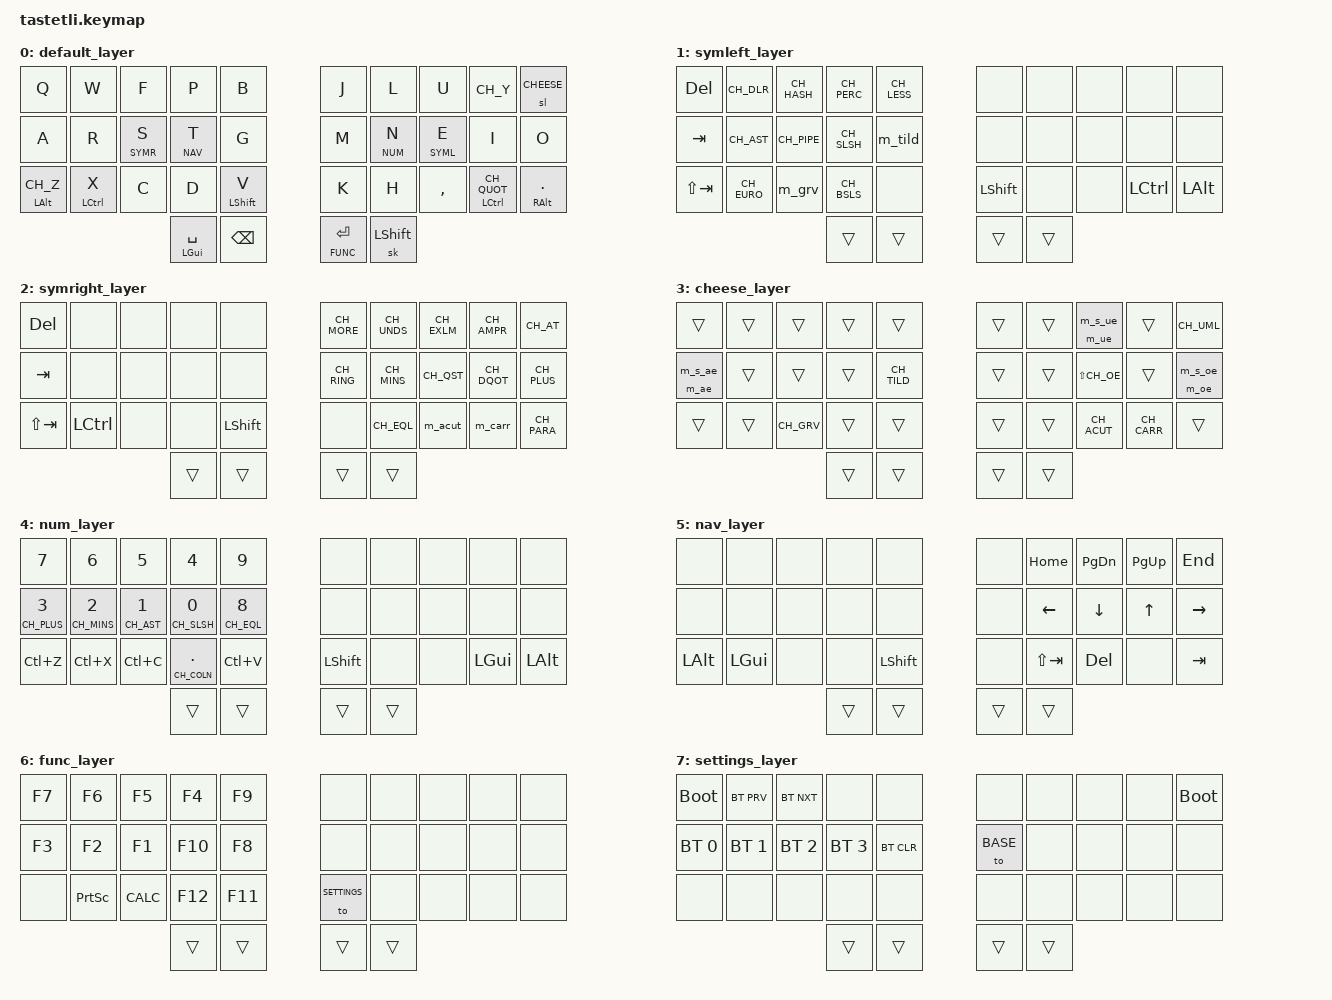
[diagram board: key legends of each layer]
/*
 * Copyright (c) 2020 The ZMK Contributors
 *
 * SPDX-License-Identifier: MIT
 */

#include <behaviors.dtsi>
#include <dt-bindings/zmk/keys.h>
#include <dt-bindings/zmk/bt.h>
#include <dt-bindings/zmk/outputs.h>
// #include <dt-bindings/zmk/mouse.h>
#include "keymap_ch_de.h"

// Layer definitions
    #define BASE 0
    #define SYML 1
    #define SYMR 2
	#define CHEESE 3
    #define NUM 4
	#define NAV 5
	// #define MOUSE 4
    #define FUNC 6
    #define SETTINGS 7
// -----------------

// Helper Aliases for formatting
#define ____ &trans
#define xxxx &none

&mt {
	flavor = "balanced";
	tapping_term_ms = <175>;
};

&lt {
	flavor = "balanced";
	tapping_term_ms = <175>;
};

&sk {
	release-after-ms = <500>;
	quick-release;
};

/ {
	macros {
		ZMK_MACRO(m_carr,
			wait-ms = <30>;
			tap-ms = <40>;
			bindings = <&kp CH_CARR &kp SPACE>;
		)
		ZMK_MACRO(m_grv,
			wait-ms = <30>;
			tap-ms = <40>;
			bindings = <&kp CH_GRV &kp SPACE>;
		)
		ZMK_MACRO(m_acut,
			wait-ms = <30>;
			tap-ms = <40>;
			bindings = <&kp CH_ACUT &kp CH_ACUT>;
		)
		ZMK_MACRO(m_tild,
			wait-ms = <30>;
			tap-ms = <40>;
			bindings = <&kp CH_TILD &kp SPACE>;
		)
		ZMK_MACRO(m_s_oe,
			wait-ms = <30>;
			tap-ms = <40>;
			bindings = <&kp CH_OE>;
		)
		ZMK_MACRO(m_s_ue,
			wait-ms = <30>;
			tap-ms = <40>;
			bindings = <&kp CH_UE>;
		)
		ZMK_MACRO(m_s_ae,
			wait-ms = <30>;
			tap-ms = <40>;
			bindings = <&kp CH_AE>;
		)
		ZMK_MACRO(m_ue,
			wait-ms = <30>;
			tap-ms = <40>;
			bindings = <&kp CH_UML &kp LS(U)>;
		)
		ZMK_MACRO(m_oe,
			wait-ms = <30>;
			tap-ms = <40>;
			bindings = <&kp CH_UML &kp LS(O)>;
		)
		ZMK_MACRO(m_ae,
			wait-ms = <30>;
			tap-ms = <40>;
			bindings = <&kp CH_UML &kp LS(A)>;
		)
        bt_0: bt_profile_macro_0 {
            label = "BT_0";
            compatible = "zmk,behavior-macro";
            #binding-cells = <0>;
            bindings
                = <&out OUT_BLE>,
                  <&bt BT_SEL 0>;
        };
        bt_1: bt_profile_macro_1 {
            label = "BT_1";
            compatible = "zmk,behavior-macro";
            #binding-cells = <0>;
            bindings
                = <&out OUT_BLE>,
                  <&bt BT_SEL 1>;
        };
        bt_2: bt_profile_macro_2 {
            label = "BT_2";
            compatible = "zmk,behavior-macro";
            #binding-cells = <0>;
            bindings
                = <&out OUT_BLE>,
                  <&bt BT_SEL 2>;
        };
        bt_3: bt_profile_macro_3 {
            label = "BT_3";
            compatible = "zmk,behavior-macro";
            #binding-cells = <0>;
            bindings
                = <&out OUT_BLE>,
                  <&bt BT_SEL 3>;
        };
	};
	combos {
		compatible = "zmk,combos";
		combo_esc {
			timeout-ms = <75>;
			key-positions = <0 10>;
			bindings = <&kp ESC>;
		};
		combo_lprn {
			timeout-ms = <50>;
			key-positions = <2 12>;
			bindings = <&kp CH_LPRN>;
		};
		combo_rprn {
			timeout-ms = <50>;
			key-positions = <7 17>;
			bindings = <&kp CH_RPRN>;
		};
		combo_lbrc {
			timeout-ms = <50>;
			key-positions = <3 13>;
			bindings = <&kp CH_LBRC>;
		};
		combo_rbrc {
			timeout-ms = <50>;
			key-positions = <6 16>;
			bindings = <&kp CH_RBRC>;
		};
		combo_lcbr {
			timeout-ms = <50>;
			key-positions = <1 11>;
			bindings = <&kp CH_LCBR>;
		};
		combo_rcbr {
			timeout-ms = <50>;
			key-positions = <8 18>;
			bindings = <&kp CH_RCBR>;
		};
		combo_more {
			timeout-ms = <75>;
			key-positions = <5 15>;
			bindings = <&kp CH_MORE>;
		};
		combo_less {
			timeout-ms = <75>;
			key-positions = <4 14>;
			bindings = <&kp CH_LESS>;
		};
		combo_scln {
			timeout-ms = <75>;
			key-positions = <17 27>;
			bindings = <&kp CH_SCLN>;
		};
		combo_dqot {
			timeout-ms = <75>;
			key-positions = <18 28>;
			bindings = <&kp CH_DQOT>;
		};
		combo_coln {
			timeout-ms = <75>;
			key-positions = <19 29>;
			bindings = <&kp CH_COLN>;
		};
		combo_qbspc {
			timeout-ms = <100>;
			key-positions = <30 31>;
			bindings = <&kp LC(BSPC)>;
		};
	};
	behaviors {	
		rp: right_hand_positional_hold_layer {
			compatible = "zmk,behavior-hold-tap";
			label = "RIGHT_POSITIONAL_HOLD_LAYER";
			#binding-cells = <2>;
			flavor = "balanced";
			tapping-term-ms = <150>;
			quick-tap-ms = <150>;
			bindings = <&mo>, <&kp>;
			hold-trigger-key-positions = <0  1  2  3  4  5  6  7  8  9
										  10 11 12 13 14 15
										  20 21 22 23 24 25 26 27 28 29>;
		};
		lp: left_hand_positional_hold_layer {
			compatible = "zmk,behavior-hold-tap";
			label = "LEFT_POSITIONAL_HOLD_LAYER";
			#binding-cells = <2>;
			flavor = "balanced";
			tapping-term-ms = <150>;
			quick-tap-ms = <150>;
			bindings = <&mo>, <&kp>;
			hold-trigger-key-positions = <0  1  2  3  4  5  6  7  8  9
										  			  14 15 16 17 18 19
										  20 21 22 23 24 25 26 27 28 29>;
		};
		mt_oe: mod_tap_oe {
			compatible = "zmk,behavior-hold-tap";
			label = "MOD_TAP_OE";
			#binding-cells = <2>;
			flavor = "balanced";
			tapping-term-ms = <150>;
			bindings = <&m_oe>, <&m_s_oe>;
		};
        mt_ue: mod_tap_ue {
			compatible = "zmk,behavior-hold-tap";
			label = "MOD_TAP_UE";
			#binding-cells = <2>;
			flavor = "balanced";
			tapping-term-ms = <150>;
			bindings = <&m_ue>, <&m_s_ue>;
		};
        mt_ae: mod_tap_ae {
			compatible = "zmk,behavior-hold-tap";
			label = "MOD_TAP_AE";
			#binding-cells = <2>;
			flavor = "balanced";
			tapping-term-ms = <150>;
			bindings = <&m_ae>, <&m_s_ae>;
		};
	};
    keymap {
            compatible = "zmk,keymap";

        // Base alpha layer
       		default_layer {
		bindings = <
		&kp Q          &kp W       &kp F       &kp P      &kp B              &kp J  &kp L      &kp U       &kp CH_Y           &sl CHEESE
		&kp A          &kp R       &lp SYMR S  &lp NAV T  &kp G              &kp M  &rp NUM N  &rp SYML E  &kp I              &kp O
		&mt LALT CH_Z  &mt LCTRL X &kp C       &kp D      &mt LSHFT V        &kp K  &kp H       &kp COMMA   &mt LCTRL CH_QUOT &mt RALT DOT
                                         &mt LGUI SPACE   &kp BSPC           &lt FUNC ENTER  &sk LSHFT
		>;
		};

        // Left Symbol Layer
       		symleft_layer {
		bindings = <
		&kp DEL      &kp CH_DLR   &kp CH_HASH  &kp CH_PERC  &kp CH_LESS    xxxx       xxxx  xxxx  xxxx       xxxx
		&kp TAB      &kp CH_AST   &kp CH_PIPE  &kp CH_SLSH  &m_tild        xxxx       xxxx  xxxx  xxxx       xxxx
		&kp LS(TAB)  &kp CH_EURO  &m_grv       &kp CH_BSLS  xxxx           &kp LSHFT  xxxx  xxxx  &kp LCTRL  &kp LALT
					                                  ____  ____           ____  ____
		>;
		};

        // Right Symbol Layer
		    symright_layer {
		bindings = <
		&kp DEL      xxxx      xxxx  xxxx  xxxx         &kp CH_MORE  &kp CH_UNDS  &kp CH_EXLM  &kp CH_AMPR  &kp CH_AT
		&kp TAB      xxxx      xxxx  xxxx  xxxx         &kp CH_RING  &kp CH_MINS  &kp CH_QST   &kp CH_DQOT  &kp CH_PLUS
		&kp LS(TAB)  &kp LCTRL xxxx  xxxx  &kp LSHFT           xxxx  &kp CH_EQL   &m_acut      &m_carr      &kp CH_PARA
		                             ____  ____                ____  ____
		>;
		};

        // Swiss Special Symbol Layer
		    cheese_layer {
		bindings = <
		____        ____  ____        ____  ____             ____  ____  &mt_ue 0 0     ____         &kp CH_UML
		&mt_ae 0 0  ____  ____        ____  &kp CH_TILD      ____  ____  &kp LS(CH_OE)  ____         &mt_oe 0 0
		____        ____  &kp CH_GRV  ____  ____             ____  ____  &kp CH_ACUT    &kp CH_CARR  ____
		                              ____  ____             ____  ____
		>;
		};

        // Numbers (Left Hand)
       		num_layer {
		bindings = <
		&kp N7          &kp N6          &kp N5          &kp N4           &kp N9           xxxx       xxxx  xxxx  xxxx      xxxx
		&mt CH_PLUS N3  &mt CH_MINS N2  &mt CH_AST N1  &mt CH_SLSH N0   &mt CH_EQL N8    xxxx       xxxx  xxxx  xxxx      xxxx
		&kp LC(Z)       &kp LC(X)       &kp LC(C)       &mt CH_COLN DOT  &kp LC(V)        &kp LSHFT  xxxx  xxxx  &kp LGUI  &kp LALT
          				                                           ____  ____             ____  ____
		>;
		};
        // Navigation (Right Hand)
       		nav_layer {
		bindings = <
		xxxx      xxxx      xxxx  xxxx  xxxx         xxxx  &kp HOME     &kp PG_DN  &kp PG_UP  &kp END
		xxxx      xxxx      xxxx  xxxx  xxxx         xxxx  &kp LEFT     &kp DOWN   &kp UP     &kp RIGHT
		&kp LALT  &kp LGUI  xxxx  xxxx  &kp LSHFT    xxxx  &kp LS(TAB)  &kp DEL    xxxx       &kp TAB
          	                      ____  ____         ____  ____
		>;
		};
        // Mouse Layer
//     		mouse_layer {
//		bindings = <
//		xxxx     xxxx      xxxx     xxxx      xxxx        xxxx  &mwh SCROLL_LEFT  &mwh SCROLL_DOWN  &mwh SCROLL_UP  &mwh SCROLL_RIGHT
//		&mkp MB5 &mkp MB4  &mkp MB3 &mkp MB1  xxxx    &to BASE  &mmv MOVE_LEFT    &mmv MOVE_DOWN    &mmv MOVE_UP    &mmv MOVE_RIGHT
//		xxxx     xxxx      xxxx     &mkp MB2  xxxx        xxxx  xxxx              xxxx              xxxx            xxxx
//	                                    ____  ____        ____  ____
//		>;
//		};
        // Function Keys
       		func_layer {
		bindings = <
		&kp F7  &kp F6     &kp F5      &kp F4   &kp F9             xxxx  xxxx  xxxx  xxxx  xxxx
		&kp F3  &kp F2     &kp F1      &kp F10  &kp F8             xxxx  xxxx  xxxx  xxxx  xxxx
		xxxx    &kp PSCRN  &kp K_CALC  &kp F12  &kp F11    &to SETTINGS  xxxx  xxxx  xxxx  xxxx
                                          ____  ____               ____  ____
		>;
		};

        // Used to change the keyboard's settings.
       		settings_layer {
		bindings = <
		&bootloader   &bt BT_PRV    &bt BT_NXT   xxxx   xxxx                 xxxx  xxxx  xxxx  xxxx  &bootloader 
		&bt BT_SEL 0  &bt BT_SEL 1  &bt BT_SEL 2 &bt BT_SEL 3  &bt BT_CLR    &to BASE  xxxx  xxxx  xxxx  xxxx
		xxxx          xxxx          xxxx         xxxx   xxxx                 xxxx  xxxx  xxxx  xxxx  xxxx
          				                        ____   ____                  ____  ____
		>;
		};
        
	};
};
